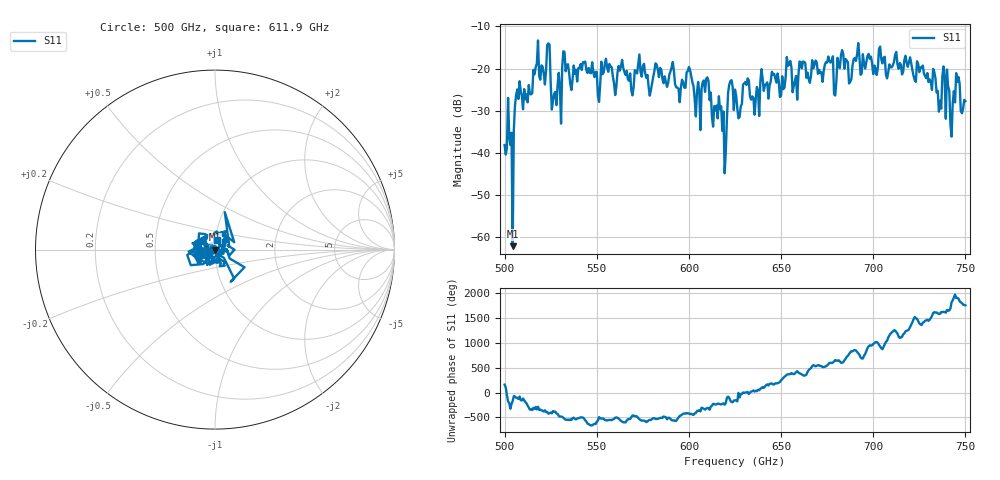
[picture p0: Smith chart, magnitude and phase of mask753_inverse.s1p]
!Created with skrf (http://scikit-rf.org).
# GHz S MA R 50.0
!freq magS11 angS11
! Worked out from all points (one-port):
!   401 points, 500 GHz to 750 GHz, reference 50 ohm
!   lowest |S11| = -62.2 dB at 504.4 GHz (marker M1), VSWR 1.00, Z = 49.9 - j0.015 ohm
!   |S11| at or under -10 dB: start of sweep to end of sweep
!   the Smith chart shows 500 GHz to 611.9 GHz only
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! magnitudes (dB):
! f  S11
! 500 GHz  -38.2
! 502.5 GHz  -36.1
! 504.4 GHz  -62.2
! 506.9 GHz  -25.0
! 513.8 GHz  -26.1
! 516.9 GHz  -19.7
! 523.8 GHz  -14.0
! 526.9 GHz  -26.0
! 531.2 GHz  -19.7
! 562.5 GHz  -20.5
! 579.4 GHz  -25.1
! 590.6 GHz  -19.7
! 593.8 GHz  -24.5
! 600 GHz  -19.6
! 605 GHz  -23.2
! 609.4 GHz  -22.4
! 619.4 GHz  -44.9
! 622.5 GHz  -23.0
! 625 GHz  -25.0
! 656.2 GHz  -25.6
! 687.5 GHz  -23.1
! 691.2 GHz  -16.6
! 718.8 GHz  -19.6
! 735.6 GHz  -30.2
! 738.8 GHz  -22.3
! 743.1 GHz  -28.2
! 745.6 GHz  -23.2
! 750 GHz  -27.7
